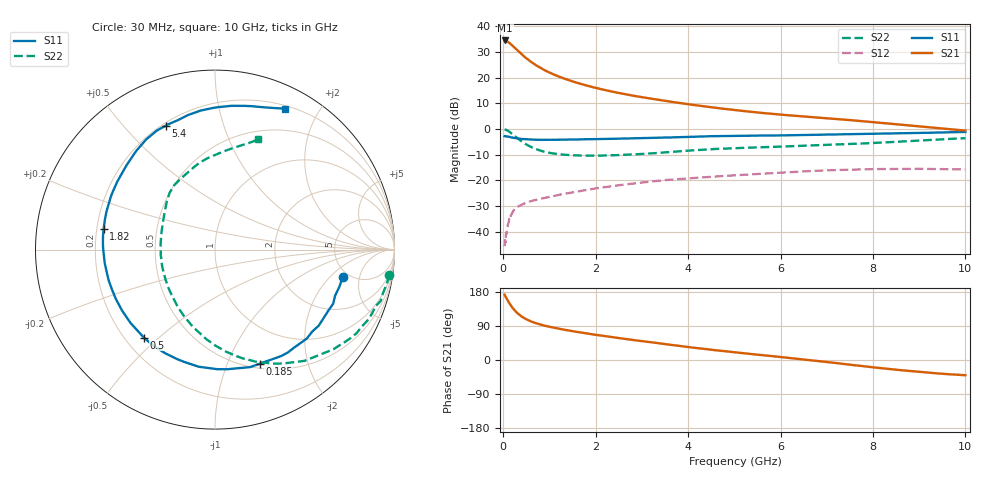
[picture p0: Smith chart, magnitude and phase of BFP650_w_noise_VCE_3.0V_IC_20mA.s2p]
! Infineon Technologies  Discrete & RF Semiconductors
! BFP650
! VCE =  3.0 V,  IC =  20 mA
! Common Emitter S-Parameters:  Jan 2016
# GHz  S  MA  R  50
!  f  S11  S21  S12  S22
! GHz  MAG  ANG  MAG  ANG  MAG  ANG  MAG  ANG
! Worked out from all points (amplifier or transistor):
!   229 points, 30 MHz to 10 GHz, reference 50 ohm
!   highest |S21| = 34.5 dB at 40 MHz (marker M1)
!   |S21| within 3 dB of that: start of sweep to 258.5 MHz
!   unconditionally stable (mu >= 1): 2.642 GHz to end of sweep
!   at 280 MHz: K = 0.24, MSG = 30.9 dB, |S12| = -30.7 dB
!   at 1.78 GHz: K = 0.90, MSG = 20.5 dB, |S12| = -23.8 dB
!   at 10 GHz: K = 1.04, MAG = 6.3 dB, |S12| = -15.7 dB
!   lowest NFmin = 0.66 dB at 450 MHz
!   S11 on the Smith chart (normalised r, x): 30 MHz: 4.42, -2.86; 185 MHz: 0.55, -1.31; 500 MHz: 0.28, -0.45; 1.82 GHz: 0.23, +0.09; 5.4 GHz: 0.21, +0.66; 10 GHz: 0.23, +1.59
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0.03  0.7273 -12.1  53.16 172.2  0.0052 79.8  0.9805 -8.3
0.04  0.7237 -16.4  53.26 169.7  0.0068 81.0  0.9765 -11.2
0.06  0.724 -24.5  52.61 165.4  0.0092 82.1  0.9665 -17.2
0.11  0.7123 -44.1  49.6 154.3  0.0146 74.2  0.9158 -30.6
0.15  0.6987 -58.0  46.35 146.6  0.019 64.4  0.8624 -40.1
0.185  0.6828 -68.7  43.44 140.6  0.0222 58.2  0.8123 -47.7
0.2  0.6834 -73.3  42.34 137.8  0.0237 56.1  0.7955 -51.2
0.26  0.6662 -89.0  37.6 129.3  0.0281 53.7  0.7165 -62.5
0.34  0.6486 -105.6  31.97 120.1  0.0313 49.4  0.6266 -75.5
0.4  0.6408 -115.7  28.5 114.5  0.0334 45.9  0.5727 -83.7
0.5  0.6303 -128.9  23.89 107.3  0.0369 43.0  0.5003 -95.7
0.7  0.6191 -147.0  17.71 97.3  0.0416 40.6  0.4094 -114.9
0.9  0.6155 -159.1  13.94 90.5  0.0455 39.4  0.3576 -130.1
1.3  0.6198 -175.7  9.739 80.3  0.054 39.3  0.3162 -153.1
1.7  0.6293 172.4  7.475 72.2  0.0629 38.4  0.3037 -170.1
1.82  0.6314 169.3  6.98 69.8  0.0651 38.3  0.3035 -174.7
3.4  0.676 138.2  3.655 43.6  0.0988 28.3  0.3444 145.1
5.1  0.739 114.9  2.292 19.2  0.1265 14.7  0.4264 121.3
5.4  0.7432 111.6  2.147 15.4  0.1313 12.5  0.435 117.4
6.8  0.772 98.1  1.677 -2.5  0.1536 -0.1  0.4833 102.0
8.4  0.8178 78.3  1.264 -24.3  0.1663 -16.4  0.5569 83.3
10  0.8772 63.6  0.931 -40.2  0.1633 -28.6  0.6623 68.6
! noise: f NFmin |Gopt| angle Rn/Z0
0.45  0.66  0.07  93  1.58
0.9  0.68  0.18  172  0.18
1.9  0.84  0.29  -171  0.05
2.4  0.93  0.3  -156  0.06
3.5  1.21  0.34  -129  0.12
